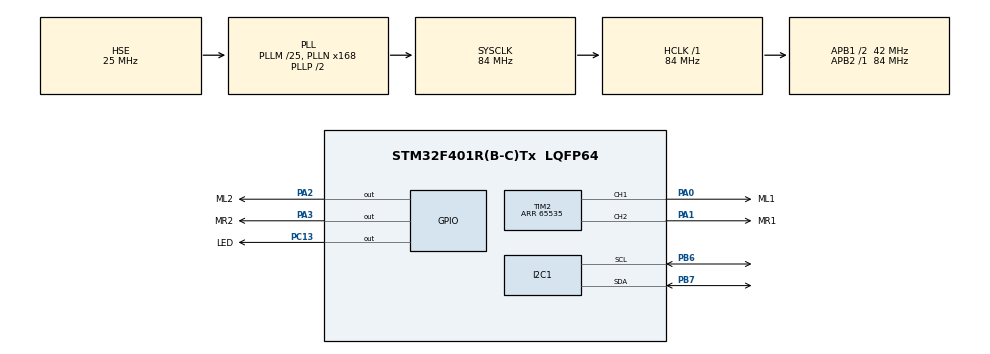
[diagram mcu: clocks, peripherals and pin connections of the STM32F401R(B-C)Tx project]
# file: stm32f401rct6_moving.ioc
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I2C1.AddressingMode=I2C_ADDRESSINGMODE_7BIT
I2C1.I2C_Mode=I2C_Standard
I2C1.NoStretchMode=I2C_NOSTRETCH_ENABLE
I2C1.OwnAddress=0x10
Mcu.Family=STM32F4
Mcu.Name=STM32F401R(B-C)Tx
Mcu.Package=LQFP64
NVIC.I2C1_ER_IRQn=true\:0\:0\:false\:false\:true\:true\:true\:true
NVIC.I2C1_EV_IRQn=true\:0\:0\:false\:false\:true\:true\:true\:true
NVIC.PriorityGroup=NVIC_PRIORITYGROUP_4
PA0-WKUP.GPIO_Label=ML1
PA0-WKUP.Signal=S_TIM2_CH1_ETR
PA1.GPIO_Label=MR1
PA1.Signal=S_TIM2_CH2
PA13.Mode=Serial_Wire
PA13.Signal=SYS_JTMS-SWDIO
PA14.Mode=Serial_Wire
PA14.Signal=SYS_JTCK-SWCLK
PA2.GPIO_Label=ML2
PA2.Signal=GPIO_Output
PA3.GPIO_Label=MR2
PA3.Signal=GPIO_Output
PB6.GPIO_Pu=GPIO_PULLUP
PB6.Mode=I2C
PB6.Signal=I2C1_SCL
PB7.GPIO_Pu=GPIO_PULLUP
PB7.Mode=I2C
PB7.Signal=I2C1_SDA
PC13-ANTI_TAMP.GPIO_Label=LED
PC13-ANTI_TAMP.Signal=GPIO_Output
PH0\ -\ OSC_IN.Mode=HSE-External-Oscillator
PH0\ -\ OSC_IN.Signal=RCC_OSC_IN
PH1\ -\ OSC_OUT.Mode=HSE-External-Oscillator
PH1\ -\ OSC_OUT.Signal=RCC_OSC_OUT
ProjectManager.HeapSize=0x200
ProjectManager.StackSize=0x400
ProjectManager.TargetToolchain=CMake
RCC.48MHZClocksFreq_Value=42000000
RCC.AHBFreq_Value=84000000
RCC.APB1CLKDivider=RCC_HCLK_DIV2
RCC.APB1Freq_Value=42000000
RCC.APB1TimFreq_Value=84000000
RCC.APB2Freq_Value=84000000
RCC.APB2TimFreq_Value=84000000
RCC.CortexFreq_Value=84000000
RCC.HCLKFreq_Value=84000000
RCC.HSE_VALUE=25000000
RCC.HSI_VALUE=16000000
RCC.LSE_VALUE=32768
RCC.PLLM=25
RCC.PLLN=168
RCC.PLLSourceVirtual=RCC_PLLSOURCE_HSE
RCC.SYSCLKFreq_VALUE=84000000
RCC.SYSCLKSource=RCC_SYSCLKSOURCE_PLLCLK
RCC.VCOOutputFreq_Value=168000000
SH.S_TIM2_CH1_ETR.0=TIM2_CH1,PWM Generation1 CH1
SH.S_TIM2_CH2.0=TIM2_CH2,PWM Generation2 CH2
TIM2.AutoReloadPreload=TIM_AUTORELOAD_PRELOAD_ENABLE
TIM2.Channel-PWM\ Generation1\ CH1=TIM_CHANNEL_1
TIM2.Channel-PWM\ Generation2\ CH2=TIM_CHANNEL_2
TIM2.ClockDivision=TIM_CLOCKDIVISION_DIV1
TIM2.Period=65535
board=custom

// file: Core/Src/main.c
/* USER CODE BEGIN Header */
/**
  ******************************************************************************
  * @file           : main.c
  * @brief          : Main program body
  ******************************************************************************
  * @attention
  *
  * Copyright (c) 2025 STMicroelectronics.
  * All rights reserved.
  *
  * This software is licensed under terms that can be found in the LICENSE file
  * in the root directory of this software component.
  * If no LICENSE file comes with this software, it is provided AS-IS.
  *
  ******************************************************************************
  */
/* USER CODE END Header */
#include "main.h"
#include "i2c.h"
#include "tim.h"
#include "gpio.h"

/* USER CODE BEGIN Includes */
#include <stdio.h>  // Для отладки, если будете использовать UART
/* USER CODE END Includes */

/* USER CODE BEGIN PV */

int8_t left_motor_speed = 0; // From -100 to 100
int8_t right_motor_speed = 0; // From -100 to 100

/* USER CODE END PV */

void SystemClock_Config(void);

int main(void)
{

  /* MCU Configuration--------------------------------------------------------*/

  /* Reset of all peripherals, Initializes the Flash interface and the Systick. */
  HAL_Init();

  /* Configure the system clock */
  SystemClock_Config();

  /* Initialize all configured peripherals */
  MX_GPIO_Init();
  MX_TIM2_Init();
  MX_I2C1_Init();
  /* USER CODE BEGIN 2 */

  // Start the interruption
  HAL_I2C_EnableListen_IT(&hi2c1);

  // Set the debuging LED to zero (stupid chinese stm32 board schematics need to set GPIO pin to turn it off)
  HAL_GPIO_WritePin(LED_GPIO_Port, LED_Pin, GPIO_PIN_SET);

  // Starting PWM and set zero to registers
  HAL_TIM_PWM_Start(&htim2, TIM_CHANNEL_1);
  HAL_TIM_PWM_Start(&htim2, TIM_CHANNEL_2);
  TIM2->CCR1=0;
  TIM2->CCR2=0;

  // Reseting other motors pins
  HAL_GPIO_WritePin(ML2_GPIO_Port, ML2_Pin, GPIO_PIN_RESET);
  HAL_GPIO_WritePin(MR2_GPIO_Port, MR2_Pin, GPIO_PIN_RESET);

  /* USER CODE END 2 */

  /* Infinite loop */
  /* USER CODE BEGIN WHILE */
  while (1)
  {
    if(left_motor_speed>=0)
    {
      TIM2->CCR1=left_motor_speed*655;
      HAL_GPIO_WritePin(ML2_GPIO_Port, ML2_Pin, GPIO_PIN_RESET);
    }
    else if(left_motor_speed<0)
    {
      TIM2->CCR1=(100+left_motor_speed)*655;
      HAL_GPIO_WritePin(ML2_GPIO_Port, ML2_Pin, GPIO_PIN_SET);
    }

    if(right_motor_speed>=0)
    {
      TIM2->CCR2=right_motor_speed*655;
      HAL_GPIO_WritePin(MR2_GPIO_Port, MR2_Pin, GPIO_PIN_RESET);
    }
    else if(right_motor_speed<0)
    {
      TIM2->CCR2=(100+right_motor_speed)*655;
      HAL_GPIO_WritePin(MR2_GPIO_Port, MR2_Pin, GPIO_PIN_SET);
    }
    /* USER CODE END WHILE */

  }
}

void SystemClock_Config(void)
{
  RCC_OscInitTypeDef RCC_OscInitStruct = {0};
  RCC_ClkInitTypeDef RCC_ClkInitStruct = {0};

  /** Configure the main internal regulator output voltage
  */
  __HAL_RCC_PWR_CLK_ENABLE();
  __HAL_PWR_VOLTAGESCALING_CONFIG(PWR_REGULATOR_VOLTAGE_SCALE2);

  /** Initializes the RCC Oscillators according to the specified parameters
  * in the RCC_OscInitTypeDef structure.
  */
  RCC_OscInitStruct.OscillatorType = RCC_OSCILLATORTYPE_HSE;
  RCC_OscInitStruct.HSEState = RCC_HSE_ON;
  RCC_OscInitStruct.PLL.PLLState = RCC_PLL_ON;
  RCC_OscInitStruct.PLL.PLLSource = RCC_PLLSOURCE_HSE;
  RCC_OscInitStruct.PLL.PLLM = 25;
  RCC_OscInitStruct.PLL.PLLN = 168;
  RCC_OscInitStruct.PLL.PLLP = RCC_PLLP_DIV2;
  RCC_OscInitStruct.PLL.PLLQ = 4;
  if (HAL_RCC_OscConfig(&RCC_OscInitStruct) != HAL_OK)
  {
    Error_Handler();
  }

  /** Initializes the CPU, AHB and APB buses clocks
  */
  RCC_ClkInitStruct.ClockType = RCC_CLOCKTYPE_HCLK|RCC_CLOCKTYPE_SYSCLK
                              |RCC_CLOCKTYPE_PCLK1|RCC_CLOCKTYPE_PCLK2;
  RCC_ClkInitStruct.SYSCLKSource = RCC_SYSCLKSOURCE_PLLCLK;
  RCC_ClkInitStruct.AHBCLKDivider = RCC_SYSCLK_DIV1;
  RCC_ClkInitStruct.APB1CLKDivider = RCC_HCLK_DIV2;
  RCC_ClkInitStruct.APB2CLKDivider = RCC_HCLK_DIV1;

  if (HAL_RCC_ClockConfig(&RCC_ClkInitStruct, FLASH_LATENCY_2) != HAL_OK)
  {
    Error_Handler();
  }
}

void Error_Handler(void)
{
  __disable_irq();
  while (1)
  {
  }
}
